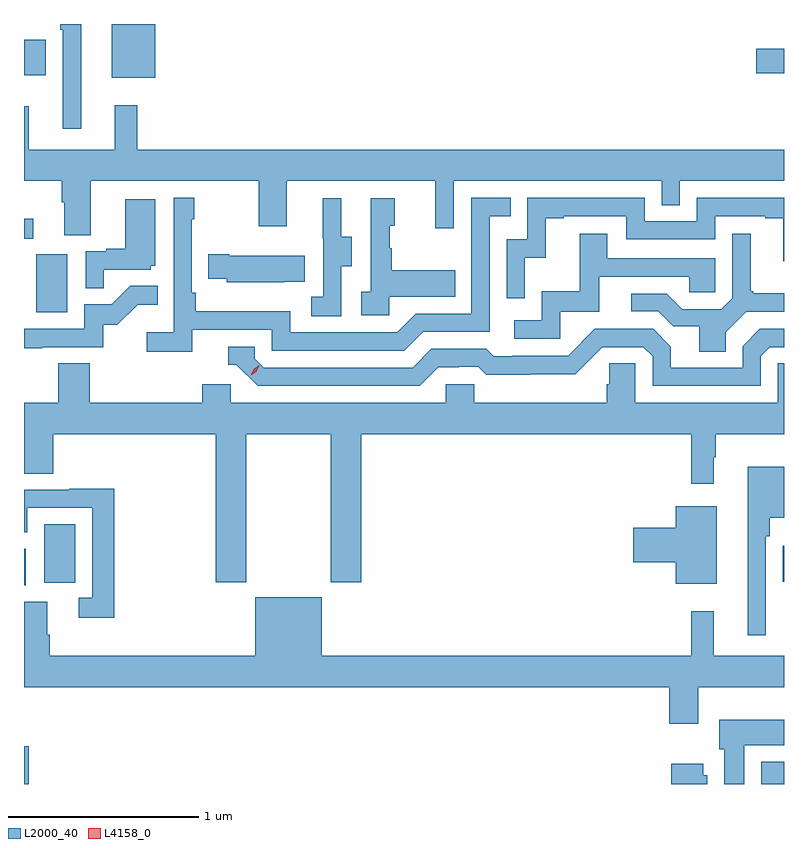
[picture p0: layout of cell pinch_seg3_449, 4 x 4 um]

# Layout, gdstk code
import gdstk
lib = gdstk.Library(unit=1e-6, precision=1e-09)
def R(c, l, rs):  # rectangles x0, y0, x1, y1
    for r in rs: c.add(gdstk.rectangle(r[:2], r[2:], *l))
def P(c, l, *ps):  # polygons
    for p in ps: c.add(gdstk.Polygon(p, *l))
L2000_40 = (2000, 40)
L4158_0 = (4158, 0)

pinch_seg3_449 = lib.new_cell('pinch_seg3_449')
R(pinch_seg3_449, L2000_40, [(938.26,683.09,938.285,683.29), (942.14,683.09,942.26,683.206), (938.26,684.135,938.268,684.329), (938.366,684.15,938.53,684.457), (942.254,684.155,942.26,684.343), (938.324,685.572,938.488,685.879), (938.26,685.959,938.308,686.065), (938.723,686.807,938.95,687.09), (938.26,686.819,938.374,687.007), (942.114,686.83,942.26,686.959)])
P(pinch_seg3_449, L2000_40, [(938.56,687.09),(938.451,687.09),(938.451,687.059),(938.463,687.059),(938.463,686.538),(938.56,686.538)],
  [(938.611,686.264),(939.496,686.264),(939.496,686.025),(939.643,686.025),(939.643,686.264),(940.424,686.264),(940.424,686.016),(940.521,686.016),(940.521,686.264),(941.616,686.264),(941.616,686.137),(941.712,686.137),(941.712,686.264),(942.26,686.264),(942.26,686.428),(938.855,686.428),(938.855,686.662),(938.738,686.662),(938.738,686.428),(938.285,686.428),(938.285,686.656),(938.26,686.656),(938.26,686.264),(938.459,686.264),(938.459,686.152),(938.471,686.152),(938.471,685.978),(938.611,685.978)],
  [(939.146,685.482),(939.564,685.482),(939.564,685.371),(940.261,685.371),(940.36,685.47),(940.71,685.47),(940.71,686.079),(940.823,686.079),(940.823,686.175),(940.614,686.175),(940.614,685.566),(940.323,685.566),(940.224,685.467),(939.66,685.467),(939.66,685.579),(939.164,685.579),(939.164,685.675),(939.144,685.675),(939.144,686.063),(939.157,686.063),(939.157,686.176),(939.048,686.176),(939.048,685.468),(938.907,685.468),(938.907,685.366),(939.146,685.366)],
  [(940.896,685.859),(941.006,685.859),(941.006,686.067),(941.101,686.067),(941.101,686.079),(941.43,686.079),(941.43,685.956),(941.898,685.956),(941.898,686.079),(942.161,686.079),(942.161,686.067),(942.257,686.067),(942.257,685.841),(942.26,685.841),(942.26,686.175),(941.802,686.175),(941.802,686.052),(941.526,686.052),(941.526,686.175),(940.908,686.175),(940.908,685.956),(940.8,685.956),(940.8,685.647),(940.896,685.647)],
  [(939.93,685.816),(939.985,685.816),(939.985,685.971),(939.931,685.971),(939.931,686.173),(939.833,686.173),(939.833,685.959),(939.834,685.959),(939.834,685.655),(939.771,685.655),(939.771,685.552),(939.93,685.552)],
  [(940.182,685.655),(940.529,685.655),(940.529,685.795),(940.195,685.795),(940.195,685.91),(940.185,685.91),(940.185,686.028),(940.21,686.028),(940.21,686.173),(940.086,686.173),(940.086,685.682),(940.035,685.682),(940.035,685.557),(940.182,685.557)],
  [(938.681,685.797),(938.928,685.797),(938.928,685.818),(938.95,685.818),(938.95,686.167),(938.792,686.167),(938.792,685.906),(938.693,685.906),(938.693,685.893),(938.586,685.893),(938.586,685.699),(938.681,685.699)],
  [(941.953,685.468),(942.06,685.575),(942.26,685.575),(942.26,685.672),(942.097,685.672),(942.097,685.684),(942.085,685.684),(942.085,685.987),(941.988,685.987),(941.988,685.647),(941.931,685.59),(941.725,685.59),(941.644,685.671),(941.457,685.671),(941.457,685.578),(941.598,685.578),(941.678,685.498),(941.813,685.498),(941.813,685.366),(941.953,685.366)],
  [(941.082,685.575),(941.287,685.575),(941.287,685.761),(941.761,685.761),(941.761,685.677),(941.898,685.677),(941.898,685.857),(941.329,685.857),(941.329,685.987),(941.185,685.987),(941.185,685.684),(940.986,685.684),(940.986,685.53),(940.839,685.53),(940.839,685.434),(941.082,685.434)],
  [(939.629,685.733),(939.737,685.733),(939.737,685.87),(939.34,685.87),(939.34,685.878),(939.229,685.878),(939.229,685.748),(939.327,685.748),(939.327,685.73),(939.629,685.73)],
  [(938.357,685.389),(938.676,685.389),(938.676,685.506),(938.752,685.506),(938.859,685.613),(938.963,685.613),(938.963,685.712),(938.819,685.712),(938.721,685.614),(938.577,685.614),(938.577,685.485),(938.26,685.485),(938.26,685.384),(938.357,685.384)],
  [(940.441,685.284),(940.548,685.284),(940.548,685.287),(940.651,685.287),(940.693,685.245),(940.926,685.245),(940.926,685.247),(941.162,685.247),(941.304,685.389),(941.52,685.389),(941.568,685.341),(941.568,685.185),(942.138,685.185),(942.138,685.341),(942.186,685.389),(942.26,685.389),(942.26,685.485),(942.132,685.485),(942.042,685.395),(942.042,685.281),(941.665,685.281),(941.665,685.391),(941.571,685.485),(941.265,685.485),(941.124,685.344),(940.831,685.344),(940.831,685.341),(940.732,685.341),(940.693,685.38),(940.404,685.38),(940.305,685.281),(939.522,685.281),(939.474,685.329),(939.474,685.392),(939.335,685.392),(939.335,685.296),(939.378,685.296),(939.489,685.185),(940.342,685.185)],
  [(939.429,684.932),(939.874,684.932),(939.874,684.153),(940.034,684.153),(940.034,684.932),(941.773,684.932),(941.773,684.669),(941.89,684.669),(941.89,684.809),(941.902,684.809),(941.902,684.932),(942.26,684.932),(942.26,685.304),(942.228,685.304),(942.228,685.096),(941.478,685.096),(941.478,685.304),(941.341,685.304),(941.341,685.194),(941.327,685.194),(941.327,685.096),(940.629,685.096),(940.629,685.194),(940.479,685.194),(940.479,685.096),(939.348,685.096),(939.348,685.194),(939.197,685.194),(939.197,685.096),(938.606,685.096),(938.606,685.304),(938.441,685.304),(938.441,685.096),(938.26,685.096),(938.26,684.724),(938.414,684.724),(938.414,684.932),(939.269,684.932),(939.269,684.153),(939.429,684.153)],
  [(942.165,684.395),(942.185,684.395),(942.185,684.491),(942.26,684.491),(942.26,684.76),(942.068,684.76),(942.068,683.874),(942.165,683.874)],
  [(938.735,684.644),(938.497,684.644),(938.497,684.639),(938.26,684.639),(938.26,684.414),(938.277,684.414),(938.277,684.543),(938.619,684.543),(938.619,684.069),(938.547,684.069),(938.547,683.964),(938.735,683.964)],
  [(941.905,684.553),(941.69,684.553),(941.69,684.44),(941.466,684.44),(941.466,684.257),(941.69,684.257),(941.69,684.143),(941.905,684.143)],
  [(941.809,683.6),(942.26,683.6),(942.26,683.764),(941.891,683.764),(941.891,683.998),(941.773,683.998),(941.773,683.764),(939.826,683.764),(939.826,684.073),(939.476,684.073),(939.476,683.764),(938.396,683.764),(938.396,683.876),(938.383,683.876),(938.383,684.05),(938.26,684.05),(938.26,683.6),(941.657,683.6),(941.657,683.406),(941.809,683.406)],
  [(942.052,683.294),(942.26,683.294),(942.26,683.428),(941.918,683.428),(941.918,683.274),(941.945,683.274),(941.945,683.09),(942.052,683.09)],
  [(941.857,683.136),(941.836,683.136),(941.836,683.197),(941.666,683.197),(941.666,683.09),(941.857,683.09)])
P(pinch_seg3_449, L4158_0, [(939.453,685.241),(939.453,685.242),(939.468,685.274),(939.498,685.294),(939.498,685.294),(939.498,685.294),(939.483,685.261),(939.453,685.241)])

lib.write_gds('pinch_seg3_449.gds')
